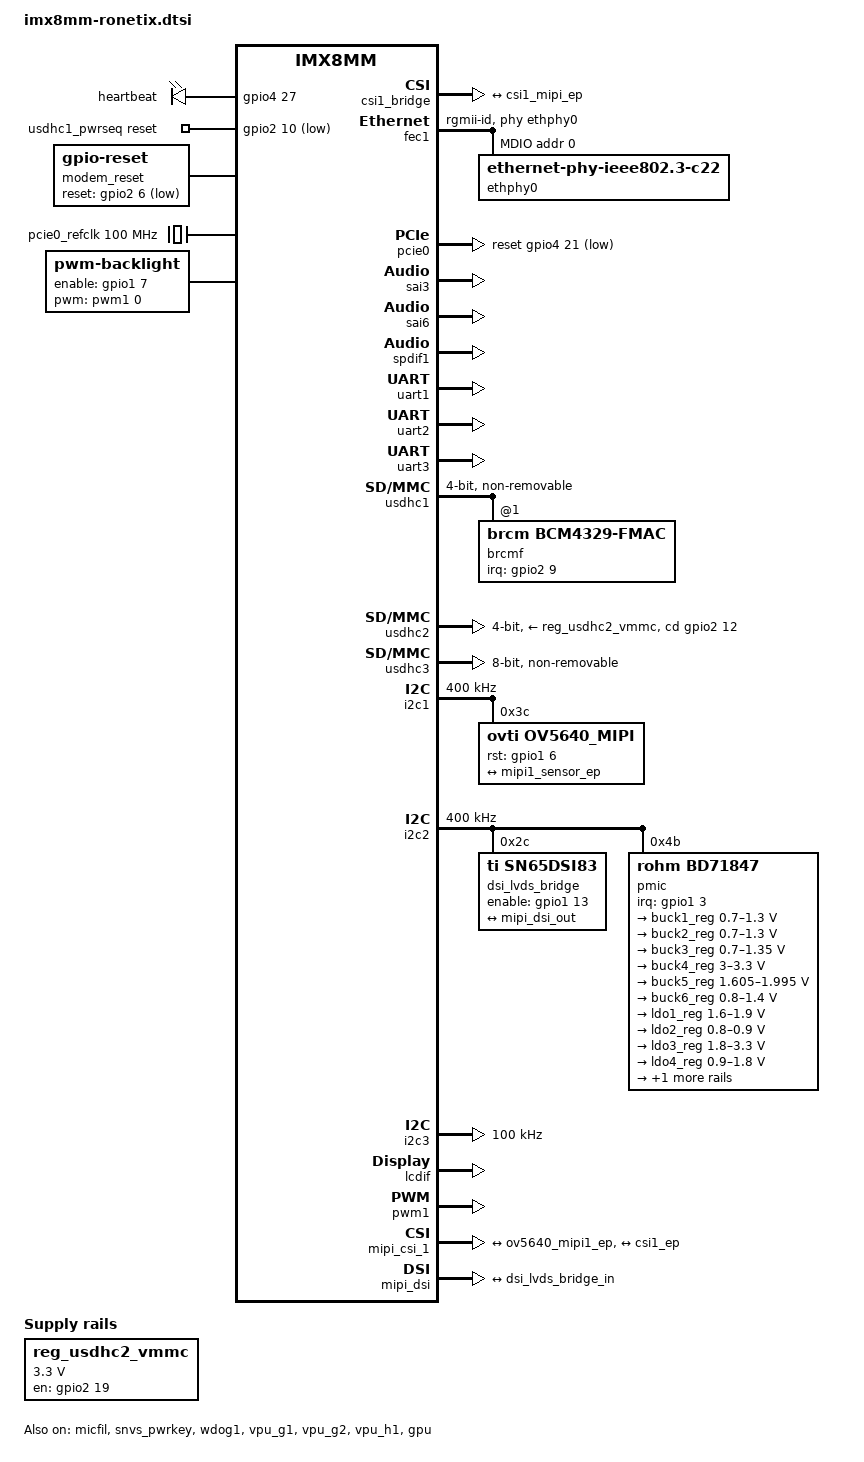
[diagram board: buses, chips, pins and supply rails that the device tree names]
// SPDX-License-Identifier: (GPL-2.0+ OR MIT)
/*
 * Copyright 2021 Ronetix
 * This file contains the definitions that are common to folowing SoM:
 * 	iMX8MM-CM
 * 	IMX8MM-COMPACT-CM
 */

/ {
	chosen {
		stdout-path = &uart2;
	};

	leds {
		compatible = "gpio-leds";
		pinctrl-names = "default";
		pinctrl-0 = <&pinctrl_gpio_leds>;
		user {
			label = "heartbeat";
			gpios = <&gpio4 27 0>;
			default-state = "on";
			linux,default-trigger = "heartbeat";
		};
	};

	/* WL_REG_ON */
	usdhc1_pwrseq: usdhc1_pwrseq {
		compatible = "mmc-pwrseq-simple";
		pinctrl-names = "default";
		pinctrl-0 = <&pinctrl_usdhc1_gpio>;
		reset-gpios = <&gpio2 10 GPIO_ACTIVE_LOW>;
	};

	/* BT_REG_ON */
	modem_reset: modem-reset {
		compatible = "gpio-reset";
		reset-gpios = <&gpio2 6 GPIO_ACTIVE_LOW>;
		reset-delay-us = <2000>;
		reset-post-delay-ms = <40>;
		#reset-cells = <0>;
	};

	pcie0_refclk: pcie0-refclk {
		compatible = "fixed-clock";
		#clock-cells = <0>;
		clock-frequency = <100000000>;
	};

	reg_usdhc2_vmmc: regulator-usdhc2 {
		compatible = "regulator-fixed";
		pinctrl-names = "default";
		pinctrl-0 = <&pinctrl_reg_usdhc2_vmmc>;
		regulator-name = "VSD_3V3";
		regulator-min-microvolt = <3300000>;
		regulator-max-microvolt = <3300000>;
		gpio = <&gpio2 19 GPIO_ACTIVE_HIGH>;
		off-on-delay-us = <20000>;
		enable-active-high;
	};

#if 0
	sound-spdif {
		compatible = "fsl,imx-audio-spdif";
		model = "imx-spdif";
		spdif-controller = <&spdif1>;
		spdif-out;
		spdif-in;
	};

	sound-micfil {
		compatible = "fsl,imx-audio-micfil";
		model = "imx-audio-micfil";
		cpu-dai = <&micfil>;
	};
#endif

backlight: backlight {
	compatible = "pwm-backlight";
	pinctrl-names = "default";
	pinctrl-0 = <&pinctrl_backlight>;
	enable-gpios = <&gpio1 7 GPIO_ACTIVE_HIGH>;
	pwms = <&pwm1 0 2500000 0>;		/* 400 Hz */
	brightness-levels = < 0  1  2  3  4  5  6  7  8  9
			     10 11 12 13 14 15 16 17 18 19
			     20 21 22 23 24 25 26 27 28 29
			     30 31 32 33 34 35 36 37 38 39
			     40 41 42 43 44 45 46 47 48 49
			     50 51 52 53 54 55 56 57 58 59
			     60 61 62 63 64 65 66 67 68 69
			     70 71 72 73 74 75 76 77 78 79
			     80 81 82 83 84 85 86 87 88 89
			     90 91 92 93 94 95 96 97 98 99
			    100>;
	default-brightness-level = <80>;
	status = "okay";
	};
};

&A53_0 {
	cpu-supply = <&buck2_reg>;
};

&csi1_bridge {
	fsl,mipi-mode;
	status = "okay";
	port {
		csi1_ep: endpoint {
			remote-endpoint = <&csi1_mipi_ep>;
		};
	};
};

&fec1 {
	pinctrl-names = "default";
	pinctrl-0 = <&pinctrl_fec1>;
	phy-mode = "rgmii-id";
	phy-handle = <&ethphy0>;
	fsl,magic-packet;
	status = "okay";

	mdio {
		#address-cells = <1>;
		#size-cells = <0>;

		ethphy0: ethernet-phy@0 {
			compatible = "ethernet-phy-ieee802.3-c22";
			reg = <0>;
			at803x,eee-disabled;
			at803x,vddio-1p8v;
		};
	};
};

&pcie0{
	pinctrl-names = "default";
	pinctrl-0 = <&pinctrl_pcie0>;
	disable-gpio = <&gpio5 21 GPIO_ACTIVE_HIGH>;
	reset-gpio = <&gpio4 21 GPIO_ACTIVE_LOW>;
	clocks = <&clk IMX8MM_CLK_PCIE1_ROOT>,
		 <&clk IMX8MM_CLK_PCIE1_AUX>,
		 <&clk IMX8MM_CLK_PCIE1_PHY>,
		 <&pcie0_refclk>;
	clock-names = "pcie", "pcie_aux", "pcie_phy", "pcie_bus";
	ext_osc = <1>;
	reserved-region = <&rpmsg_reserved>;
	status = "okay";
};

&sai3 {
	pinctrl-names = "default";
	pinctrl-0 = <&pinctrl_sai3>;
	assigned-clocks = <&clk IMX8MM_CLK_SAI3>;
	assigned-clock-parents = <&clk IMX8MM_AUDIO_PLL1_OUT>;
	assigned-clock-rates = <24576000>;
	status = "okay";
};

&sai2 {
	#sound-dai-cells = <0>;
	pinctrl-names = "default";
	pinctrl-0 = <&pinctrl_sai2>;
	assigned-clocks = <&clk IMX8MM_CLK_SAI2>;
	assigned-clock-parents = <&clk IMX8MM_AUDIO_PLL1_OUT>;
	assigned-clock-rates = <24576000>;
	status = "disabled";
};

&sai1 {
	pinctrl-names = "default", "dsd";
	pinctrl-0 = <&pinctrl_sai1>;
	pinctrl-1 = <&pinctrl_sai1_dsd>;
	assigned-clocks = <&clk IMX8MM_CLK_SAI1>;
	assigned-clock-parents = <&clk IMX8MM_AUDIO_PLL1_OUT>;
	assigned-clock-rates = <49152000>;
	clocks = <&clk IMX8MM_CLK_SAI1_IPG>, <&clk IMX8MM_CLK_DUMMY>,
		<&clk IMX8MM_CLK_SAI1_ROOT>, <&clk IMX8MM_CLK_DUMMY>,
		<&clk IMX8MM_CLK_DUMMY>, <&clk IMX8MM_AUDIO_PLL1_OUT>,
		<&clk IMX8MM_AUDIO_PLL2_OUT>;
	clock-names = "bus", "mclk0", "mclk1", "mclk2", "mclk3", "pll8k", "pll11k";
	fsl,sai-multi-lane;
	fsl,dataline,dsd = <0 0xff 0xff 2 0xff 0x11>;
	dmas = <&sdma2 0 25 0>, <&sdma2 1 25 0>;
	status = "disabled";
};

&sai5 {
	pinctrl-names = "default";
	pinctrl-0 = <&pinctrl_sai5>;
	assigned-clocks = <&clk IMX8MM_CLK_SAI5>;
	assigned-clock-parents = <&clk IMX8MM_AUDIO_PLL1_OUT>;
	assigned-clock-rates = <49152000>;
	clocks = <&clk IMX8MM_CLK_SAI5_IPG>, <&clk IMX8MM_CLK_DUMMY>,
		<&clk IMX8MM_CLK_SAI5_ROOT>, <&clk IMX8MM_CLK_DUMMY>,
		<&clk IMX8MM_CLK_DUMMY>, <&clk IMX8MM_AUDIO_PLL1_OUT>,
		<&clk IMX8MM_AUDIO_PLL2_OUT>;
	clock-names = "bus", "mclk0", "mclk1", "mclk2", "mclk3", "pll8k", "pll11k";
	fsl,sai-asynchronous;
	status = "disabled";
};

&sai6 {
	fsl,sai-monitor-spdif;
	fsl,sai-asynchronous;
	status = "okay";
};

&spdif1 {
	pinctrl-names = "default";
	pinctrl-0 = <&pinctrl_spdif1>;
	assigned-clocks = <&clk IMX8MM_CLK_SPDIF1>;
	assigned-clock-parents = <&clk IMX8MM_AUDIO_PLL1_OUT>;
	assigned-clock-rates = <24576000>;
	clocks = <&clk IMX8MM_CLK_AUDIO_AHB>, <&clk IMX8MM_CLK_24M>,
		<&clk IMX8MM_CLK_SPDIF1>, <&clk IMX8MM_CLK_DUMMY>,
		<&clk IMX8MM_CLK_DUMMY>, <&clk IMX8MM_CLK_DUMMY>,
		<&clk IMX8MM_CLK_AUDIO_AHB>, <&clk IMX8MM_CLK_DUMMY>,
		<&clk IMX8MM_CLK_DUMMY>, <&clk IMX8MM_CLK_DUMMY>,
		<&clk IMX8MM_AUDIO_PLL1_OUT>, <&clk IMX8MM_AUDIO_PLL2_OUT>;
	clock-names = "core", "rxtx0", "rxtx1", "rxtx2", "rxtx3",
		"rxtx4", "rxtx5", "rxtx6", "rxtx7", "spba", "pll8k", "pll11k";
	status = "okay";
};

&micfil {
	pinctrl-names = "default";
	pinctrl-0 = <&pinctrl_pdm>;
	assigned-clocks = <&clk IMX8MM_CLK_PDM>;
	assigned-clock-parents = <&clk IMX8MM_AUDIO_PLL1_OUT>;
	assigned-clock-rates = <196608000>;
	status = "okay";
};

&snvs_pwrkey {
	status = "okay";
};

&uart1 { /* BT */
	pinctrl-names = "default";
	pinctrl-0 = <&pinctrl_uart1>;
	assigned-clocks = <&clk IMX8MM_CLK_UART1>;
	assigned-clock-parents = <&clk IMX8MM_SYS_PLL1_80M>;
	fsl,uart-has-rtscts;
	resets = <&modem_reset>;
	status = "okay";
};

&uart2 { /* console */
	pinctrl-names = "default";
	pinctrl-0 = <&pinctrl_uart2>;
	status = "okay";
};

&uart3 {
	pinctrl-names = "default";
	pinctrl-0 = <&pinctrl_uart3>;
	assigned-clocks = <&clk IMX8MM_CLK_UART3>;
	assigned-clock-parents = <&clk IMX8MM_SYS_PLL1_80M>;
	fsl,uart-has-rtscts;
	status = "okay";
};

/* WiFi */
&usdhc1 {
	#address-cells = <1>;
	#size-cells = <0>;
	pinctrl-names = "default", "state_100mhz", "state_200mhz";
	pinctrl-0 = <&pinctrl_usdhc1>, <&pinctrl_wlan>;
	pinctrl-1 = <&pinctrl_usdhc1_100mhz>, <&pinctrl_wlan>;
	pinctrl-2 = <&pinctrl_usdhc1_200mhz>, <&pinctrl_wlan>;
	cap-power-off-card;
	mmc-pwrseq = <&usdhc1_pwrseq>;
	bus-width = <4>;
	pm-ignore-notify;
	keep-power-in-suspend;
	non-removable;
	status = "okay";

	brcmf: bcrmf@1 {
		reg = <1>;
		compatible = "brcm,bcm4329-fmac";
		interrupt-parent = <&gpio2>;
		interrupts = <9 IRQ_TYPE_LEVEL_HIGH>;
		interrupt-names = "host-wake";
	};
};

/* Micro-SD */
&usdhc2 {
	pinctrl-names = "default", "state_100mhz", "state_200mhz";
	pinctrl-0 = <&pinctrl_usdhc2>, <&pinctrl_usdhc2_gpio>;
	pinctrl-1 = <&pinctrl_usdhc2_100mhz>, <&pinctrl_usdhc2_gpio>;
	pinctrl-2 = <&pinctrl_usdhc2_200mhz>, <&pinctrl_usdhc2_gpio>;
	cd-gpios = <&gpio2 12 GPIO_ACTIVE_HIGH>;
	bus-width = <4>;
	vmmc-supply = <&reg_usdhc2_vmmc>;
	status = "okay";
};

/* eMMC */
&usdhc3 {
	pinctrl-names = "default", "state_100mhz", "state_200mhz";
	pinctrl-0 = <&pinctrl_usdhc3>;
	pinctrl-1 = <&pinctrl_usdhc3_100mhz>;
	pinctrl-2 = <&pinctrl_usdhc3_200mhz>;
	bus-width = <8>;
	non-removable;
	status = "okay";
};

&wdog1 {
	pinctrl-names = "default";
	pinctrl-0 = <&pinctrl_wdog>;
	fsl,ext-reset-output;
	status = "okay";
};

&flexspi {
	pinctrl-names = "default";
	pinctrl-0 = <&pinctrl_flexspi0>;
	status = "disabled";
};

&i2c1 {
	clock-frequency = <400000>;
	pinctrl-names = "default";
	pinctrl-0 = <&pinctrl_i2c1>;
	status = "okay";

	ov5640_mipi: ov5640_mipi@3c {
		compatible = "ovti,ov5640_mipi";
		reg = <0x3c>;
		status = "okay";
		pinctrl-names = "default";
		pinctrl-0 = <&pinctrl_csi_rst>;
		rst-gpios = <&gpio1 6 GPIO_ACTIVE_HIGH>;
		clocks = <&clk IMX8MM_CLK_CLKO1>;
		clock-names = "csi_mclk";
		assigned-clocks = <&clk IMX8MM_CLK_CLKO1>;
		assigned-clock-parents = <&clk IMX8MM_CLK_24M>;
		assigned-clock-rates = <24000000>;
		csi_id = <0>;
		mclk = <24000000>;
		mclk_source = <0>;
		port {
			ov5640_mipi1_ep: endpoint {
				remote-endpoint = <&mipi1_sensor_ep>;
			};
		};
	};
};

&i2c2 {
	clock-frequency = <400000>;
	pinctrl-names = "default";
	pinctrl-0 = <&pinctrl_i2c2>;
	status = "okay";

	dsi_lvds_bridge: sn65dsi83@2c {
		compatible = "ti,sn65dsi83";
		reg = <0x2c>;
		ti,dsi-lanes = <2>;
		ti,lvds-format = <2>;
		ti,lvds-bpp = <24>;
		ti,lvds-channels = <1>;
		ti,width-mm = <218>;
		ti,height-mm = <137>;
		enable-gpios = <&gpio1 13 GPIO_ACTIVE_HIGH>;
		pinctrl-names = "default";
		pinctrl-0 = <&pinctrl_lvds>;

		status = "okay";

		display-timings {
			/* InnoLux G070Y2-L01 - doesn't work because of
			 * display pixel clock driver limitation to 74250 kHz (dcss-dtg.c)
			 *
			 * InnoLux G101ICE-L01, 10", 1280x800 works, but flickers.
			 * This is a known problem: https://community.nxp.com/thread/510810
			 */
			lvds {
				clock-frequency = <74250000>;
				hactive = <1280>;
				vactive = <800>;

				hfront-porch 	= <80>;
				hback-porch	 	= <79>;
				hsync-len 		= <1>;

				vfront-porch 	= <11>;
				vback-porch 	= <11>;
				vsync-len 		= <1>;

				hsync-active = <0>;
				vsync-active = <0>;
				de-active = <0>;
				pixelclk-active = <0>;
			};
		};

		port {
			dsi_lvds_bridge_in: endpoint {
				remote-endpoint = <&mipi_dsi_out>;
			};
		};
	};

	pmic@4b {
		compatible = "rohm,bd71847";
		reg = <0x4b>;
		pinctrl-0 = <&pinctrl_pmic>;
		interrupt-parent = <&gpio1>;
		interrupts = <3 GPIO_ACTIVE_LOW>;
		rohm,reset-snvs-powered;
		status = "okay";

		regulators {
			buck1_reg: BUCK1 {
				regulator-name = "BUCK1";
				regulator-min-microvolt = <700000>;
				regulator-max-microvolt = <1300000>;
				regulator-boot-on;
				regulator-always-on;
				regulator-ramp-delay = <1250>;
			};

			buck2_reg: BUCK2 {
				regulator-name = "BUCK2";
				regulator-min-microvolt = <700000>;
				regulator-max-microvolt = <1300000>;
				regulator-boot-on;
				regulator-always-on;
				regulator-ramp-delay = <1250>;
				rohm,dvs-run-voltage = <1000000>;
				rohm,dvs-idle-voltage = <900000>;
			};

			buck3_reg: BUCK3 {
				// BUCK5 in datasheet
				regulator-name = "BUCK3";
				regulator-min-microvolt = <700000>;
				regulator-max-microvolt = <1350000>;
				regulator-boot-on;
				regulator-always-on;
			};

			buck4_reg: BUCK4 {
				// BUCK6 in datasheet
				regulator-name = "BUCK4";
				regulator-min-microvolt = <3000000>;
				regulator-max-microvolt = <3300000>;
				regulator-boot-on;
				regulator-always-on;
			};

			buck5_reg: BUCK5 {
				// BUCK7 in datasheet
				regulator-name = "BUCK5";
				regulator-min-microvolt = <1605000>;
				regulator-max-microvolt = <1995000>;
				regulator-boot-on;
				regulator-always-on;
			};

			buck6_reg: BUCK6 {
				// BUCK8 in datasheet
				regulator-name = "BUCK6";
				regulator-min-microvolt = <800000>;
				regulator-max-microvolt = <1400000>;
				regulator-boot-on;
				regulator-always-on;
			};

			ldo1_reg: LDO1 {
				regulator-name = "LDO1";
				regulator-min-microvolt = <1600000>;
				regulator-max-microvolt = <1900000>;
				regulator-boot-on;
				regulator-always-on;
			};

			ldo2_reg: LDO2 {
				regulator-name = "LDO2";
				regulator-min-microvolt = <800000>;
				regulator-max-microvolt = <900000>;
				regulator-boot-on;
				regulator-always-on;
			};

			ldo3_reg: LDO3 {
				regulator-name = "LDO3";
				regulator-min-microvolt = <1800000>;
				regulator-max-microvolt = <3300000>;
				regulator-boot-on;
				regulator-always-on;
			};

			ldo4_reg: LDO4 {
				regulator-name = "LDO4";
				regulator-min-microvolt = <900000>;
				regulator-max-microvolt = <1800000>;
				regulator-boot-on;
				regulator-always-on;
			};

			ldo6_reg: LDO6 {
				regulator-name = "LDO6";
				regulator-min-microvolt = <900000>;
				regulator-max-microvolt = <1800000>;
				regulator-boot-on;
				regulator-always-on;
			};
		};
	};
};

&i2c3 {
	clock-frequency = <100000>;
	pinctrl-names = "default";
	pinctrl-0 = <&pinctrl_i2c3>;
	status = "okay";
};

&iomuxc {
	pinctrl-names = "default";

	pinctrl_backlight: backlightgrp {
		fsl,pins = <
			MX8MM_IOMUXC_GPIO1_IO07_GPIO1_IO7  0x16 	/* LCD_BL_EN */
		>;
	};

	pinctrl_pwm1: pwm1grp {
		fsl,pins = <
			MX8MM_IOMUXC_GPIO1_IO01_PWM1_OUT 		0x06
		>;
	};

	pinctrl_csi_rst: csi_rst_grp {
		fsl,pins = <
			MX8MM_IOMUXC_GPIO1_IO06_GPIO1_IO6		0x19
		>;
	};

	pinctrl_fec1: fec1grp {
		fsl,pins = <
			MX8MM_IOMUXC_ENET_MDC_ENET1_MDC			0x3
			MX8MM_IOMUXC_ENET_MDIO_ENET1_MDIO		0x3
			MX8MM_IOMUXC_ENET_TD3_ENET1_RGMII_TD3		0x1f
			MX8MM_IOMUXC_ENET_TD2_ENET1_RGMII_TD2		0x1f
			MX8MM_IOMUXC_ENET_TD1_ENET1_RGMII_TD1		0x1f
			MX8MM_IOMUXC_ENET_TD0_ENET1_RGMII_TD0		0x1f
			MX8MM_IOMUXC_ENET_RD3_ENET1_RGMII_RD3		0x91
			MX8MM_IOMUXC_ENET_RD2_ENET1_RGMII_RD2		0x91
			MX8MM_IOMUXC_ENET_RD1_ENET1_RGMII_RD1		0x91
			MX8MM_IOMUXC_ENET_RD0_ENET1_RGMII_RD0		0x91
			MX8MM_IOMUXC_ENET_TXC_ENET1_RGMII_TXC		0x1f
			MX8MM_IOMUXC_ENET_RXC_ENET1_RGMII_RXC		0x91
			MX8MM_IOMUXC_ENET_RX_CTL_ENET1_RGMII_RX_CTL	0x91
			MX8MM_IOMUXC_ENET_TX_CTL_ENET1_RGMII_TX_CTL	0x1f
			MX8MM_IOMUXC_SAI3_RXC_GPIO4_IO29		0x19	/* ENET_nRST */
		>;
	};

	pinctrl_flexspi0: flexspi0grp {
		fsl,pins = <
			MX8MM_IOMUXC_NAND_ALE_QSPI_A_SCLK               0x1c2
			MX8MM_IOMUXC_NAND_CE0_B_QSPI_A_SS0_B            0x82
			MX8MM_IOMUXC_NAND_DATA00_QSPI_A_DATA0           0x82
			MX8MM_IOMUXC_NAND_DATA01_QSPI_A_DATA1           0x82
			MX8MM_IOMUXC_NAND_DATA02_QSPI_A_DATA2           0x82
			MX8MM_IOMUXC_NAND_DATA03_QSPI_A_DATA3           0x82
		>;
	};

	pinctrl_gpio_leds: gpioledgrp {
		fsl,pins = <
			MX8MM_IOMUXC_SAI2_MCLK_GPIO4_IO27	0x19
		>;
	};

	pinctrl_i2c1: i2c1grp {
		fsl,pins = <
			MX8MM_IOMUXC_I2C1_SCL_I2C1_SCL			0x400001c3
			MX8MM_IOMUXC_I2C1_SDA_I2C1_SDA			0x400001c3
		>;
	};

	pinctrl_i2c2: i2c2grp {
		fsl,pins = <
			MX8MM_IOMUXC_I2C2_SCL_I2C2_SCL			0x400001c3
			MX8MM_IOMUXC_I2C2_SDA_I2C2_SDA			0x400001c3
		>;
	};

	pinctrl_i2c3: i2c3grp {
		fsl,pins = <
			MX8MM_IOMUXC_I2C3_SCL_I2C3_SCL			0x400001c3
			MX8MM_IOMUXC_I2C3_SDA_I2C3_SDA			0x400001c3
		>;
	};

	pinctrl_lvds: lvdsgrp {
		fsl,pins = <
			/* SN65DSI83 - chip enable, not connected */
			MX8MM_IOMUXC_GPIO1_IO13_GPIO1_IO13		0x16
		>;
	};

	pinctrl_pmic: pmicirq {
		fsl,pins = <
			MX8MM_IOMUXC_GPIO1_IO03_GPIO1_IO3		0x41
		>;
	};

	pinctrl_reg_usdhc2_vmmc: regusdhc2vmmc {
		fsl,pins = <
			MX8MM_IOMUXC_SD2_RESET_B_GPIO2_IO19	0x41
		>;
	};

	pinctrl_sai2: sai2grp {
		fsl,pins = <
			MX8MM_IOMUXC_SAI2_TXC_SAI2_TX_BCLK      0xd6
			MX8MM_IOMUXC_SAI2_TXFS_SAI2_TX_SYNC     0xd6
			MX8MM_IOMUXC_SAI2_TXD0_SAI2_TX_DATA0    0xd6
			MX8MM_IOMUXC_SAI2_RXD0_SAI2_RX_DATA0    0xd6
		>;
	};

	/* WM8960 */
	pinctrl_sai3: sai3grp {
		fsl,pins = <
			MX8MM_IOMUXC_SAI3_TXFS_SAI3_TX_SYNC     0xd6
			MX8MM_IOMUXC_SAI3_TXC_SAI3_TX_BCLK      0xd6
			MX8MM_IOMUXC_SAI3_MCLK_SAI3_MCLK        0xd6
			MX8MM_IOMUXC_SAI3_TXD_SAI3_TX_DATA0     0xd6
		>;
	};

	pinctrl_sai1: sai1grp {
		fsl,pins = <
			MX8MM_IOMUXC_SAI1_MCLK_SAI1_MCLK	0xd6
			MX8MM_IOMUXC_SAI1_TXFS_SAI1_TX_SYNC	0xd6
			MX8MM_IOMUXC_SAI1_RXD7_SAI1_TX_SYNC	0xd6
			MX8MM_IOMUXC_SAI1_TXC_SAI1_TX_BCLK	0xd6
			MX8MM_IOMUXC_SAI1_TXD0_SAI1_TX_DATA0	0xd6
			MX8MM_IOMUXC_SAI1_TXD1_SAI1_TX_DATA1	0xd6
			MX8MM_IOMUXC_SAI1_TXD2_SAI1_TX_DATA2	0xd6
			MX8MM_IOMUXC_SAI1_TXD3_SAI1_TX_DATA3	0xd6
			MX8MM_IOMUXC_SAI1_TXD4_SAI1_TX_DATA4	0xd6
			MX8MM_IOMUXC_SAI1_TXD5_SAI1_TX_DATA5	0xd6
			MX8MM_IOMUXC_SAI1_TXD6_SAI1_TX_DATA6	0xd6
			MX8MM_IOMUXC_SAI1_TXD7_SAI1_TX_DATA7	0xd6
		>;
	};

	pinctrl_sai1_dsd: sai1grp_dsd {
		fsl,pins = <
			MX8MM_IOMUXC_SAI1_MCLK_SAI1_MCLK	0xd6
			MX8MM_IOMUXC_SAI1_TXFS_SAI1_TX_SYNC	0xd6
			MX8MM_IOMUXC_SAI1_RXD7_SAI1_TX_DATA4	0xd6
			MX8MM_IOMUXC_SAI1_TXC_SAI1_TX_BCLK	0xd6
			MX8MM_IOMUXC_SAI1_TXD0_SAI1_TX_DATA0	0xd6
			MX8MM_IOMUXC_SAI1_TXD1_SAI1_TX_DATA1	0xd6
			MX8MM_IOMUXC_SAI1_TXD2_SAI1_TX_DATA2	0xd6
			MX8MM_IOMUXC_SAI1_TXD3_SAI1_TX_DATA3	0xd6
			MX8MM_IOMUXC_SAI1_TXD4_SAI1_TX_DATA4	0xd6
			MX8MM_IOMUXC_SAI1_TXD5_SAI1_TX_DATA5	0xd6
			MX8MM_IOMUXC_SAI1_TXD6_SAI1_TX_DATA6	0xd6
			MX8MM_IOMUXC_SAI1_TXD7_SAI1_TX_DATA7	0xd6
		>;
	};

	pinctrl_sai5: sai5grp {
		fsl,pins = <
			MX8MM_IOMUXC_SAI5_MCLK_SAI5_MCLK	0xd6
			MX8MM_IOMUXC_SAI5_RXC_SAI5_RX_BCLK	0xd6
			MX8MM_IOMUXC_SAI5_RXFS_SAI5_RX_SYNC	0xd6
			MX8MM_IOMUXC_SAI5_RXD0_SAI5_RX_DATA0	0xd6
			MX8MM_IOMUXC_SAI5_RXD1_SAI5_RX_DATA1    0xd6
			MX8MM_IOMUXC_SAI5_RXD2_SAI5_RX_DATA2    0xd6
			MX8MM_IOMUXC_SAI5_RXD3_SAI5_RX_DATA3    0xd6
		>;
	};

	pinctrl_pdm: pdmgrp {
		fsl,pins = <
			MX8MM_IOMUXC_SAI5_MCLK_SAI5_MCLK	0xd6
			MX8MM_IOMUXC_SAI5_RXC_PDM_CLK		0xd6
			MX8MM_IOMUXC_SAI5_RXFS_SAI5_RX_SYNC	0xd6
			MX8MM_IOMUXC_SAI5_RXD0_PDM_DATA0	0xd6
			MX8MM_IOMUXC_SAI5_RXD1_PDM_DATA1	0xd6
			MX8MM_IOMUXC_SAI5_RXD2_PDM_DATA2	0xd6
			MX8MM_IOMUXC_SAI5_RXD3_PDM_DATA3	0xd6
		>;
	};

	pinctrl_spdif1: spdif1grp {
		fsl,pins = <
			MX8MM_IOMUXC_SPDIF_TX_SPDIF1_OUT	0xd6
			MX8MM_IOMUXC_SPDIF_RX_SPDIF1_IN		0xd6
		>;
	};

	pinctrl_uart1: uart1grp {
		fsl,pins = <
			MX8MM_IOMUXC_UART1_RXD_UART1_DCE_RX	0x140
			MX8MM_IOMUXC_UART1_TXD_UART1_DCE_TX	0x140
			MX8MM_IOMUXC_UART3_RXD_UART1_DCE_CTS_B	0x140
			MX8MM_IOMUXC_UART3_TXD_UART1_DCE_RTS_B	0x140
			MX8MM_IOMUXC_SD1_DATA4_GPIO2_IO6	0x19		/* BT_REG_ON */
		>;
	};

	pinctrl_uart2: uart2grp {
		fsl,pins = <
			MX8MM_IOMUXC_UART2_RXD_UART2_DCE_RX	0x140
			MX8MM_IOMUXC_UART2_TXD_UART2_DCE_TX	0x140
		>;
	};

	pinctrl_uart3: uart3grp {
		fsl,pins = <
			MX8MM_IOMUXC_ECSPI1_SCLK_UART3_DCE_RX		0x140
			MX8MM_IOMUXC_ECSPI1_MOSI_UART3_DCE_TX		0x140
			MX8MM_IOMUXC_ECSPI1_SS0_UART3_DCE_RTS_B		0x140
			MX8MM_IOMUXC_ECSPI1_MISO_UART3_DCE_CTS_B	0x140
		>;
	};

	pinctrl_wlan: wlangrp {
		fsl,pins = <
			MX8MM_IOMUXC_GPIO1_IO00_ANAMIX_REF_CLK_32K	0x141	/* REF_CLK_32K */
			MX8MM_IOMUXC_SD1_DATA7_GPIO2_IO9			0x111	/* WL_WAKE_HOST */
		>;
	};

	pinctrl_usdhc1_gpio: usdhc1grpgpio {
		fsl,pins = <
			MX8MM_IOMUXC_SD1_RESET_B_GPIO2_IO10	0x41			/* WL_REG_ON */
		>;
	};

	pinctrl_usdhc1: usdhc1grp {
		fsl,pins = <
			MX8MM_IOMUXC_SD1_CLK_USDHC1_CLK		0x190
			MX8MM_IOMUXC_SD1_CMD_USDHC1_CMD		0x1d0
			MX8MM_IOMUXC_SD1_DATA0_USDHC1_DATA0	0x1d0
			MX8MM_IOMUXC_SD1_DATA1_USDHC1_DATA1	0x1d0
			MX8MM_IOMUXC_SD1_DATA2_USDHC1_DATA2	0x1d0
			MX8MM_IOMUXC_SD1_DATA3_USDHC1_DATA3	0x1d0
		>;
	};

	pinctrl_usdhc1_100mhz: usdhc1grp100mhz {
		fsl,pins = <
			MX8MM_IOMUXC_SD1_CLK_USDHC1_CLK		0x194
			MX8MM_IOMUXC_SD1_CMD_USDHC1_CMD		0x1d4
			MX8MM_IOMUXC_SD1_DATA0_USDHC1_DATA0	0x1d4
			MX8MM_IOMUXC_SD1_DATA1_USDHC1_DATA1	0x1d4
			MX8MM_IOMUXC_SD1_DATA2_USDHC1_DATA2	0x1d4
			MX8MM_IOMUXC_SD1_DATA3_USDHC1_DATA3	0x1d4
		>;
	};

	pinctrl_usdhc1_200mhz: usdhc1grp200mhz {
		fsl,pins = <
			MX8MM_IOMUXC_SD1_CLK_USDHC1_CLK		0x196
			MX8MM_IOMUXC_SD1_CMD_USDHC1_CMD		0x1d6
			MX8MM_IOMUXC_SD1_DATA0_USDHC1_DATA0	0x1d6
			MX8MM_IOMUXC_SD1_DATA1_USDHC1_DATA1	0x1d6
			MX8MM_IOMUXC_SD1_DATA2_USDHC1_DATA2	0x1d6
			MX8MM_IOMUXC_SD1_DATA3_USDHC1_DATA3	0x1d6
		>;
	};

	pinctrl_usdhc2_gpio: usdhc2grpgpio {
		fsl,pins = <
			MX8MM_IOMUXC_SD2_CD_B_GPIO2_IO12	0x1c4
		>;
	};

	pinctrl_usdhc2: usdhc2grp {
		fsl,pins = <
			MX8MM_IOMUXC_SD2_CLK_USDHC2_CLK		0x190
			MX8MM_IOMUXC_SD2_CMD_USDHC2_CMD		0x1d0
			MX8MM_IOMUXC_SD2_DATA0_USDHC2_DATA0	0x1d0
			MX8MM_IOMUXC_SD2_DATA1_USDHC2_DATA1	0x1d0
			MX8MM_IOMUXC_SD2_DATA2_USDHC2_DATA2	0x1d0
			MX8MM_IOMUXC_SD2_DATA3_USDHC2_DATA3	0x1d0
			MX8MM_IOMUXC_GPIO1_IO04_USDHC2_VSELECT	0x1d0
		>;
	};

	pinctrl_usdhc2_100mhz: usdhc2grp100mhz {
		fsl,pins = <
			MX8MM_IOMUXC_SD2_CLK_USDHC2_CLK		0x194
			MX8MM_IOMUXC_SD2_CMD_USDHC2_CMD		0x1d4
			MX8MM_IOMUXC_SD2_DATA0_USDHC2_DATA0	0x1d4
			MX8MM_IOMUXC_SD2_DATA1_USDHC2_DATA1	0x1d4
			MX8MM_IOMUXC_SD2_DATA2_USDHC2_DATA2	0x1d4
			MX8MM_IOMUXC_SD2_DATA3_USDHC2_DATA3	0x1d4
			MX8MM_IOMUXC_GPIO1_IO04_USDHC2_VSELECT	0x1d0
		>;
	};

	pinctrl_usdhc2_200mhz: usdhc2grp200mhz {
		fsl,pins = <
			MX8MM_IOMUXC_SD2_CLK_USDHC2_CLK		0x196
			MX8MM_IOMUXC_SD2_CMD_USDHC2_CMD		0x1d6
			MX8MM_IOMUXC_SD2_DATA0_USDHC2_DATA0	0x1d6
			MX8MM_IOMUXC_SD2_DATA1_USDHC2_DATA1	0x1d6
			MX8MM_IOMUXC_SD2_DATA2_USDHC2_DATA2	0x1d6
			MX8MM_IOMUXC_SD2_DATA3_USDHC2_DATA3	0x1d6
			MX8MM_IOMUXC_GPIO1_IO04_USDHC2_VSELECT	0x1d0
		>;
	};

	pinctrl_usdhc3: usdhc3grp {
		fsl,pins = <
			MX8MM_IOMUXC_NAND_WE_B_USDHC3_CLK		0x190
			MX8MM_IOMUXC_NAND_WP_B_USDHC3_CMD		0x1d0
			MX8MM_IOMUXC_NAND_DATA04_USDHC3_DATA0		0x1d0
			MX8MM_IOMUXC_NAND_DATA05_USDHC3_DATA1		0x1d0
			MX8MM_IOMUXC_NAND_DATA06_USDHC3_DATA2		0x1d0
			MX8MM_IOMUXC_NAND_DATA07_USDHC3_DATA3		0x1d0
			MX8MM_IOMUXC_NAND_RE_B_USDHC3_DATA4		0x1d0
			MX8MM_IOMUXC_NAND_CE2_B_USDHC3_DATA5		0x1d0
			MX8MM_IOMUXC_NAND_CE3_B_USDHC3_DATA6		0x1d0
			MX8MM_IOMUXC_NAND_CLE_USDHC3_DATA7		0x1d0
			MX8MM_IOMUXC_NAND_CE1_B_USDHC3_STROBE 		0x190
		>;
	};

	pinctrl_usdhc3_100mhz: usdhc3grp100mhz {
		fsl,pins = <
			MX8MM_IOMUXC_NAND_WE_B_USDHC3_CLK		0x194
			MX8MM_IOMUXC_NAND_WP_B_USDHC3_CMD		0x1d4
			MX8MM_IOMUXC_NAND_DATA04_USDHC3_DATA0		0x1d4
			MX8MM_IOMUXC_NAND_DATA05_USDHC3_DATA1		0x1d4
			MX8MM_IOMUXC_NAND_DATA06_USDHC3_DATA2		0x1d4
			MX8MM_IOMUXC_NAND_DATA07_USDHC3_DATA3		0x1d4
			MX8MM_IOMUXC_NAND_RE_B_USDHC3_DATA4		0x1d4
			MX8MM_IOMUXC_NAND_CE2_B_USDHC3_DATA5		0x1d4
			MX8MM_IOMUXC_NAND_CE3_B_USDHC3_DATA6		0x1d4
			MX8MM_IOMUXC_NAND_CLE_USDHC3_DATA7		0x1d4
			MX8MM_IOMUXC_NAND_CE1_B_USDHC3_STROBE 		0x194
		>;
	};

	pinctrl_usdhc3_200mhz: usdhc3grp200mhz {
		fsl,pins = <
			MX8MM_IOMUXC_NAND_WE_B_USDHC3_CLK		0x196
			MX8MM_IOMUXC_NAND_WP_B_USDHC3_CMD		0x1d6
			MX8MM_IOMUXC_NAND_DATA04_USDHC3_DATA0		0x1d6
			MX8MM_IOMUXC_NAND_DATA05_USDHC3_DATA1		0x1d6
			MX8MM_IOMUXC_NAND_DATA06_USDHC3_DATA2		0x1d6
			MX8MM_IOMUXC_NAND_DATA07_USDHC3_DATA3		0x1d6
			MX8MM_IOMUXC_NAND_RE_B_USDHC3_DATA4		0x1d6
			MX8MM_IOMUXC_NAND_CE2_B_USDHC3_DATA5		0x1d6
			MX8MM_IOMUXC_NAND_CE3_B_USDHC3_DATA6		0x1d6
			MX8MM_IOMUXC_NAND_CLE_USDHC3_DATA7		0x1d6
			MX8MM_IOMUXC_NAND_CE1_B_USDHC3_STROBE 		0x196
		>;
	};

	pinctrl_wdog: wdoggrp {
		fsl,pins = <
			MX8MM_IOMUXC_GPIO1_IO02_WDOG1_WDOG_B	0xc6
		>;
	};
};

&lcdif {
	status = "okay";
};

&pwm1 {
	pinctrl-names = "default";
	pinctrl-0 = <&pinctrl_pwm1>;
	status = "okay";
};

&mipi_csi_1 {
	#address-cells = <1>;
	#size-cells = <0>;
	status = "okay";
	port {
		mipi1_sensor_ep: endpoint@1 {
			remote-endpoint = <&ov5640_mipi1_ep>;
			data-lanes = <2>;
			csis-hs-settle = <13>;
			csis-clk-settle = <2>;
			csis-wclk;
		};

		csi1_mipi_ep: endpoint@2 {
			remote-endpoint = <&csi1_ep>;
		};
	};
};

&vpu_g1 {
	status = "okay";
};

&vpu_g2 {
	status = "okay";
};

&vpu_h1 {
	status = "okay";
};

&gpu {
	status = "okay";
};

&mipi_dsi {
	status = "okay";

	port@1 {
		mipi_dsi_out: endpoint {
			remote-endpoint = <&dsi_lvds_bridge_in>;
			attach-bridge;
		};
	};
};
